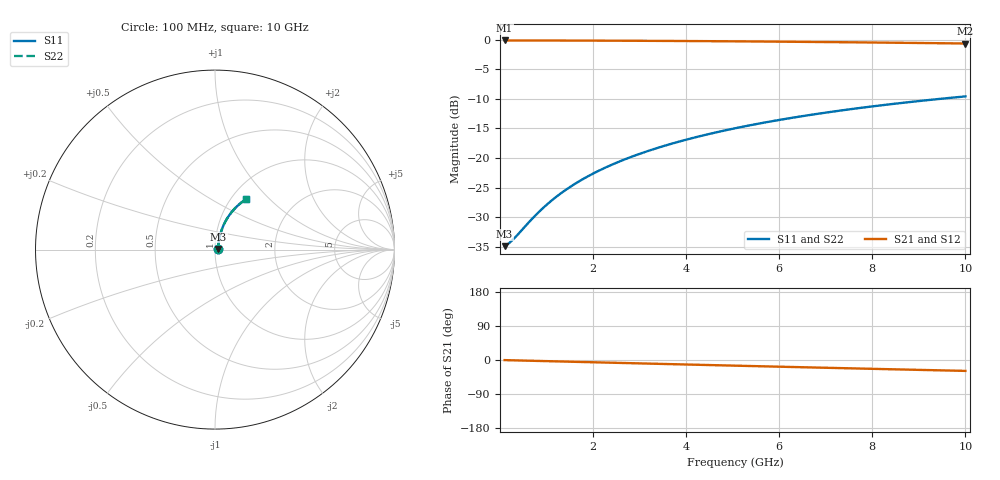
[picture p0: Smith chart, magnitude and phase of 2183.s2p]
# Hz S RI R 50.00
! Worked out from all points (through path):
!   100 points, 100 MHz to 10 GHz, reference 50 ohm
!   highest |S21| = -0.15 dB at 100 MHz (marker M1); lowest = -0.7 dB at 10 GHz (marker M2)
!   group delay of S21, straight-line fit = 8 ps
!   lowest |S11| = -34.9 dB at 100 MHz (marker M3), VSWR 1.04, Z = 51.8 + j0.362 ohm
!   |S11| at or under -10 dB: start of sweep to 9.476 GHz
!   |S22| runs from -34.9 to -9.6 dB; largest |S21 - S12| = 0
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1e8  0.0177 0.0035  0.9823 -0.00512  0.9823 -0.00512  0.0177 0.0035
2e8  0.0178 0.00699  0.9821 -0.0102  0.9821 -0.0102  0.0178 0.00699
3e8  0.018 0.0105  0.982 -0.0154  0.982 -0.0154  0.018 0.0105
6e8  0.0187 0.021  0.9813 -0.0307  0.9813 -0.0307  0.0187 0.021
8e8  0.0193 0.0279  0.9806 -0.0409  0.9806 -0.0409  0.0193 0.0279
9e8  0.0196 0.0314  0.9802 -0.046  0.9802 -0.046  0.0196 0.0314
1.1e9  0.0204 0.0383  0.9794 -0.0562  0.9794 -0.0562  0.0204 0.0383
1.4e9  0.0219 0.0487  0.9778 -0.0715  0.9778 -0.0715  0.0219 0.0487
1.6e9  0.023 0.0555  0.9766 -0.0816  0.9766 -0.0816  0.023 0.0555
1.8e9  0.0243 0.0624  0.9752 -0.0917  0.9752 -0.0917  0.0243 0.0624
2.1e9  0.0265 0.0726  0.9729 -0.1068  0.9729 -0.1068  0.0265 0.0726
2.5e9  0.0299 0.086  0.9693 -0.1267  0.9693 -0.1267  0.0299 0.086
2.9e9  0.0338 0.0993  0.9651 -0.1465  0.9651 -0.1465  0.0338 0.0993
3.4e9  0.0394 0.1156  0.959 -0.171  0.959 -0.171  0.0394 0.1156
3.8e9  0.0445 0.1284  0.9535 -0.1903  0.9535 -0.1903  0.0445 0.1284
4.2e9  0.0501 0.1409  0.9475 -0.2093  0.9475 -0.2093  0.0501 0.1409
5.1e9  0.0644 0.1679  0.9321 -0.251  0.9321 -0.251  0.0644 0.1679
5.9e9  0.0789 0.1905  0.9163 -0.2867  0.9163 -0.2867  0.0789 0.1905
6.7e9  0.0951 0.2117  0.8988 -0.321  0.8988 -0.321  0.0951 0.2117
7.5e9  0.1126 0.2312  0.8797 -0.3537  0.8797 -0.3537  0.1126 0.2312
8.4e9  0.1338 0.2512  0.8565 -0.3886  0.8565 -0.3886  0.1338 0.2512
1e10  0.1745 0.2813  0.8117 -0.4452  0.8117 -0.4452  0.1745 0.2813
